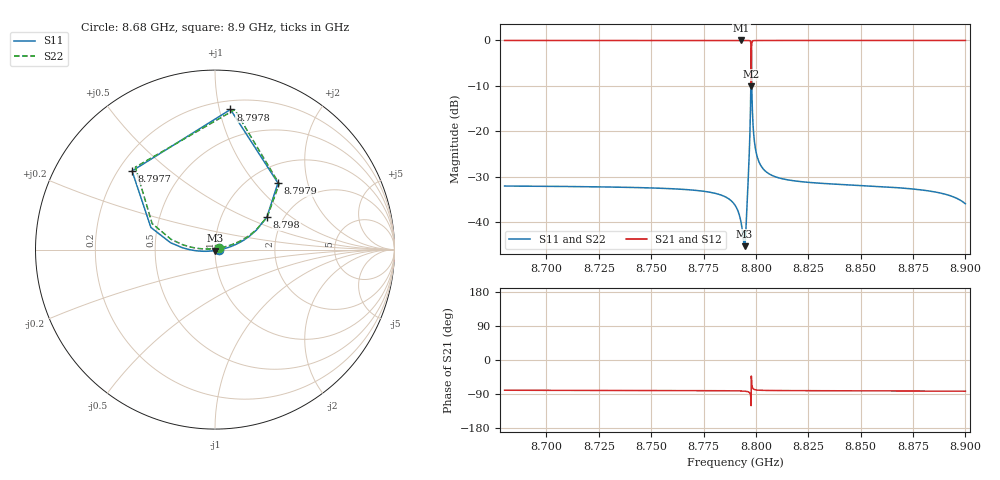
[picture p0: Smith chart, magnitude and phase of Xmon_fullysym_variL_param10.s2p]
! Sonnet Data File
! From: emgraph Version : 16.52
! From Project: 171117_Xmon_fullysym
! Data is De-embedded
! Data File Written: 11/26/2017 17:14:23
!< HDATE 11/22/2017 16:48:52
!< MDATE 11/23/2017 10:16:42
!< PARAMS
!< Lj = 11.0
!< Gap = 1.0
!< Pwid = 2000.0
!< Airgap = 6.0
!< Width = 10.0
!< Lj1 = 10.45
!< END PARAMS
# GHZ S MA R 50.90000
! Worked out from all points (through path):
!   2201 points, 8.68 GHz to 8.9 GHz, reference 50.9 ohm
!   highest |S21| = 0.00 dB at 8.7931 GHz (marker M1); lowest = -10.1 dB at 8.7978 GHz (marker M2)
!   lowest |S11| = -45.2 dB at 8.7946 GHz (marker M3), VSWR 1.01, Z = 50.9 - j0.556 ohm
!   |S11| at or under -10 dB: start of sweep to 8.7976 GHz; 8.798 GHz to end of sweep
!   |S22| runs from -44.8 to -2.1 dB; largest |S21 - S12| = 3.6e-10
!   S11 on the Smith chart (normalised r, x): 8.68 GHz: 1.05, -0.00; 8.7977 GHz: 0.26, +0.38; 8.7978 GHz: 0.27, +1.08; 8.7979 GHz: 1.32, +1.33; 8.798 GHz: 1.64, +0.67; 8.9 GHz: 1.03, -0.01
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8.68  0.02508 -1.5  0.9997 -79.8  0.9997 -79.8  0.02508 22.0
!< P1 F=8.68 Eeff=(6.44843488 -2.9797e-5) Z0=(50.9086135 1.17022e-4) R=0.0 C=0.0
!< P2 F=8.68 Eeff=(6.44843488 -2.9797e-5) Z0=(50.9086135 1.17022e-4) R=0.0 C=0.0
8.7167  0.0247 -2.2  0.9997 -80.1  0.9997 -80.1  0.0247 21.9
8.7534  0.02376 -3.1  0.9997 -80.5  0.9997 -80.5  0.02376 22.1
8.78  0.02099 -5.4  0.9998 -81.0  0.9998 -81.0  0.02099 23.6
8.79  0.01545 -11.6  0.9999 -81.4  0.9999 -81.4  0.01547 29.0
8.7931  0.009417 -26.8  0.9999 -81.8  0.9999 -81.8  0.009499 43.9
8.7946  0.005472 -85.5  0.9998 -82.3  0.9998 -82.3  0.005766 100.8
8.7956  0.01301 -148.0  0.9996 -82.9  0.9996 -82.9  0.01327 159.6
8.7962  0.02623 -161.8  0.9991 -83.7  0.9991 -83.7  0.02648 171.8
8.797  0.07736 -173.4  0.9946 -86.7  0.9946 -86.7  0.07771 176.4
8.7977  0.6367 136.5  0.6287 -120.4  0.6287 -120.4  0.6384 134.0
8.7978  0.7853 83.7  0.3137 -42.2  0.3137 -42.2  0.7873 82.0
8.7979  0.5106 46.6  0.7911 -51.9  0.7911 -51.9  0.5119 45.7
8.798  0.3413 32.1  0.9142 -62.4  0.9142 -62.4  0.342 31.9
8.7985  0.132 15.0  0.9885 -74.7  0.9885 -74.7  0.1322 17.9
8.7989  0.09436 11.4  0.9944 -76.9  0.9944 -76.9  0.0945 16.2
8.7994  0.07311 8.9  0.9968 -78.1  0.9968 -78.1  0.0732 15.7
8.8002  0.05725 6.6  0.9981 -79.0  0.9981 -79.0  0.0573 15.9
8.8035  0.03863 2.5  0.9992 -80.1  0.9992 -80.1  0.03864 17.3
8.8267  0.02733 -1.9  0.9996 -81.0  0.9996 -81.0  0.02733 19.9
8.8634  0.02442 -3.8  0.9997 -81.5  0.9997 -81.5  0.02442 20.8
8.9  0.016 -11.0  0.9999 -82.4  0.9999 -82.4  0.01601 26.4
